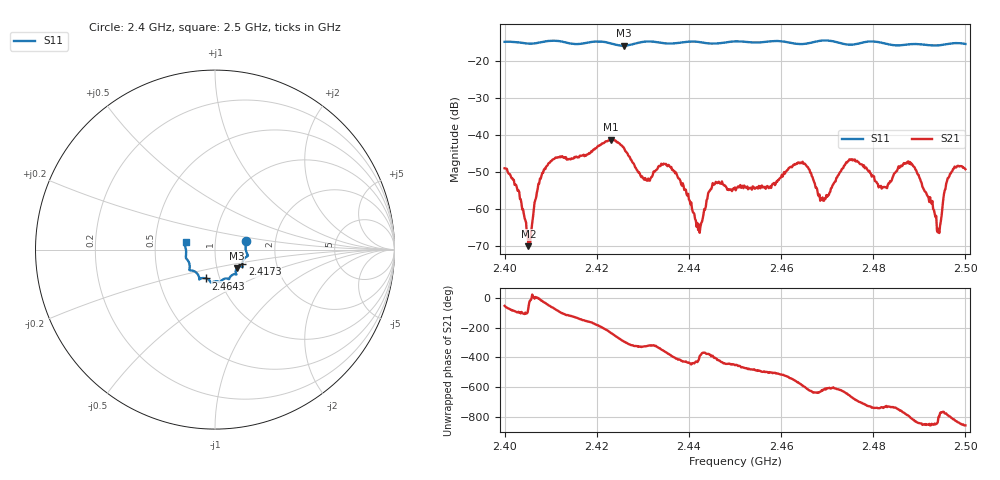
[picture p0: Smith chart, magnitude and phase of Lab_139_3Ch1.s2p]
# Hz S RI R 50
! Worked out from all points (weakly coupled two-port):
!   601 points, 2.4 GHz to 2.5 GHz, reference 50 ohm
!   highest |S21| = -41.28 dB at 2.423 GHz (marker M1); lowest = -70.1 dB at 2.4052 GHz (marker M2)
!   lowest |S11| = -15.9 dB at 2.4258 GHz (marker M3), VSWR 1.38, Z = 62.3 - j13.2 ohm
!   |S11| at or under -10 dB: start of sweep to end of sweep
!   S12 and S22 are empty: the file has one direction only
!   S11 on the Smith chart (normalised r, x): 2.4 GHz: 1.41, +0.14; 2.4173 GHz: 1.34, -0.23; 2.4643 GHz: 0.86, -0.28; 2.5 GHz: 0.72, +0.06
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2.4e9  0.1736 0.0497  0.00209 -0.00286  0 0  0 0
2.405167e9  0.1704 0.0117  0.000128 -0.000287  0 0  0 0
2.409e9  0.1816 -0.0281  0.00293 -0.00228  0 0  0 0
2.416667e9  0.1529 -0.0746  -0.00429 -0.00298  0 0  0 0
2.417333e9  0.1522 -0.0819  -0.00454 -0.00246  0 0  0 0
2.423e9  0.1453 -0.0933  -0.00504 0.00701  0 0  0 0
2.425833e9  0.1221 -0.1034  0.00264 0.00624  0 0  0 0
2.4305e9  0.1186 -0.1376  0.00215 0.00148  0 0  0 0
2.433333e9  0.1128 -0.1371  0.00332 0.00164  0 0  0 0
2.437e9  0.0875 -0.1486  0.00222 -0.00208  0 0  0 0
2.442167e9  0.0738 -0.1636  0.000366 -0.000499  0 0  0 0
2.4455e9  0.0517 -0.1628  0.00153 -0.00149  0 0  0 0
2.45e9  0.0295 -0.1807  -0.000103 -0.00195  0 0  0 0
2.464333e9  -0.0499 -0.1606  -0.0031 0.00275  0 0  0 0
2.466667e9  -0.0758 -0.1597  -1.52e-05 0.00277  0 0  0 0
2.469e9  -0.0876 -0.1664  -0.000156 0.00142  0 0  0 0
2.475167e9  -0.1078 -0.1252  0.00266 0.0038  0 0  0 0
2.483333e9  -0.1409 -0.0899  0.00218 -0.000425  0 0  0 0
2.4885e9  -0.1614 -0.0481  -0.00047 -0.00393  0 0  0 0
2.494333e9  -0.1622 0.0022  8.25e-05 -0.000466  0 0  0 0
2.496333e9  -0.1683 0.0217  0.000808 -0.00251  0 0  0 0
2.5e9  -0.1638 0.0421  -0.00256 -0.0023  0 0  0 0
